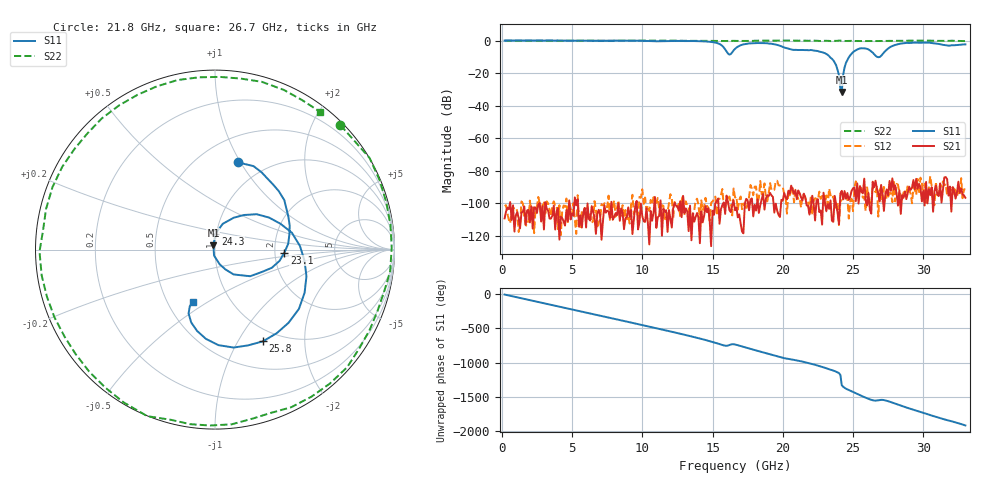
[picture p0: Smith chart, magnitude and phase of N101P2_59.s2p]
# GHZ S RI R 50
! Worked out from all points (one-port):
!   329 points, 200 MHz to 33 GHz, reference 50 ohm
!   lowest |S11| = -31.6 dB at 24.2 GHz (marker M1), VSWR 1.05, Z = 49.1 + j2.41 ohm
!   |S11| at or under -10 dB: 23.34 GHz to 24.73 GHz (1.383 GHz wide, 5.75 % of centre); 26.71 GHz to 26.92 GHz (211.6 MHz wide, 0.789 % of centre)
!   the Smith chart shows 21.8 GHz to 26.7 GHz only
!   S11 on the Smith chart (normalised r, x): 21.8 GHz: 0.75, +0.98; 23.1 GHz: 2.26, -0.09; 24.3 GHz: 0.99, +0.18; 25.8 GHz: 0.84, -1.28; 26.7 GHz: 0.67, -0.44
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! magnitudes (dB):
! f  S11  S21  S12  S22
! 200 MHz  0.0  -109.3  -101.7  0.0
! 5.7 GHz  -0.1  -115.0  -104.8  -0.1
! 11.2 GHz  -0.4  -107.8  -103.5  -0.1
! 15.2 GHz  -1.2  -100.2  -95.9  -0.3
! 16.2 GHz  -8.6  -104.2  -95.9  -0.3
! 16.6 GHz  -5.1  -104.4  -96.5  -0.2
! 18.4 GHz  -1.5  -101.1  -86.4  -0.1
! 21.8 GHz  -5.9  -101.4  -99.0  -0.1
! 22.1 GHz  -6.0  -95.4  -107.2  0.0
! 23.1 GHz  -8.2  -105.0  -95.2  -0.1
! 23.8 GHz  -15.2  -100.8  -102.1  -0.2
! 24 GHz  -21.3  -112.9  -113.5  0.0
! 24.1 GHz  -29.5  -94.1  -98.9  -0.1
! 24.2 GHz  -31.6  -92.4  -98.1  -0.2
! 24.3 GHz  -21.1  -97.6  -98.9  -0.2
! 24.5 GHz  -13.7  -97.3  -95.1  -0.3
! 24.8 GHz  -9.1  -96.0  -99.0  -0.2
! 25.8 GHz  -4.8  -84.9  -96.2  -0.3
! 26.7 GHz  -10.0  -91.0  -89.9  -0.3
! 27.6 GHz  -4.3  -86.3  -93.8  -0.2
! 28.8 GHz  -1.5  -97.5  -93.9  -0.1
! 33 GHz  -2.4  -96.7  -91.6  -0.4
